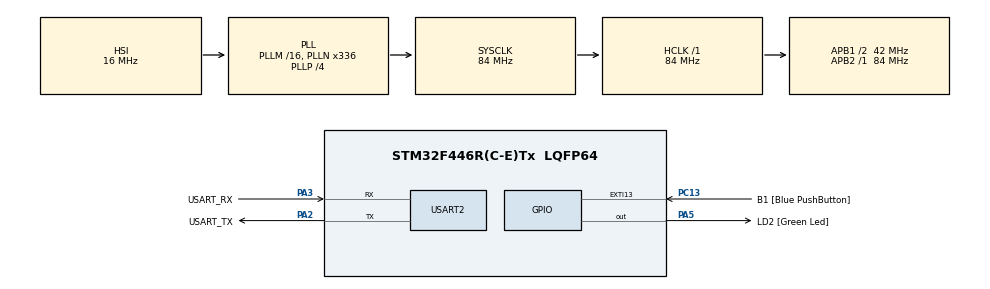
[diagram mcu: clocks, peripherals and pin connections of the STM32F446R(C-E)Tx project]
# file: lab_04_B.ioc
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Mcu.Family=STM32F4
Mcu.Name=STM32F446R(C-E)Tx
Mcu.Package=LQFP64
NVIC.PriorityGroup=NVIC_PRIORITYGROUP_0
NVIC.USART2_IRQn=true\:0\:0\:false\:false\:true\:true\:true\:true
PA13.GPIO_Label=TMS
PA13.Signal=SYS_JTMS-SWDIO
PA14.GPIO_Label=TCK
PA14.Signal=SYS_JTCK-SWCLK
PA2.GPIO_Label=USART_TX
PA2.Mode=Asynchronous
PA2.Signal=USART2_TX
PA3.GPIO_Label=USART_RX
PA3.Mode=Asynchronous
PA3.Signal=USART2_RX
PA5.GPIO_Label=LD2 [Green Led]
PA5.Signal=GPIO_Output
PB3.GPIO_Label=SWO
PB3.Signal=SYS_JTDO-SWO
PC13.GPIO_Label=B1 [Blue PushButton]
PC13.GPIO_ModeDefaultEXTI=GPIO_MODE_IT_FALLING
PC13.Signal=GPXTI13
PC14-OSC32_IN.Signal=RCC_OSC32_IN
PC15-OSC32_OUT.Signal=RCC_OSC32_OUT
PH0-OSC_IN.Signal=RCC_OSC_IN
PH1-OSC_OUT.Signal=RCC_OSC_OUT
ProjectManager.HeapSize=0x200
ProjectManager.StackSize=0x400
ProjectManager.TargetToolchain=STM32CubeIDE
RCC.AHBFreq_Value=84000000
RCC.APB1CLKDivider=RCC_HCLK_DIV2
RCC.APB1Freq_Value=42000000
RCC.APB1TimFreq_Value=84000000
RCC.APB2Freq_Value=84000000
RCC.APB2TimFreq_Value=84000000
RCC.CortexFreq_Value=84000000
RCC.FLatency-AdvancedSettings=FLASH_LATENCY_2
RCC.HCLKFreq_Value=84000000
RCC.HSE_VALUE=8000000
RCC.HSI_VALUE=16000000
RCC.LSE_VALUE=32768
RCC.PLLN=336
RCC.PLLP=RCC_PLLP_DIV4
RCC.SYSCLKFreq_VALUE=84000000
RCC.SYSCLKSource=RCC_SYSCLKSOURCE_PLLCLK
RCC.USBFreq_Value=168000000
RCC.VCOOutputFreq_Value=336000000
USART2.VirtualMode=VM_ASYNC
board=NUCLEO-F446RE

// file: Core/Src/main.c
/* USER CODE BEGIN Header */
/**
  ******************************************************************************
  * @file           : main.c
  * @brief          : Main program body
  ******************************************************************************
  * @attention
  *
  * Copyright (c) 2026 STMicroelectronics.
  * All rights reserved.
  *
  * This software is licensed under terms that can be found in the LICENSE file
  * in the root directory of this software component.
  * If no LICENSE file comes with this software, it is provided AS-IS.
  *
  ******************************************************************************
  */
/* USER CODE END Header */
#include "main.h"

/* USER CODE BEGIN Includes */

#include <string.h>
#include <stdio.h>
/* USER CODE END Includes */

UART_HandleTypeDef huart2;

/* USER CODE BEGIN PV */

uint8_t rxByte;
char lineBuf[128];
uint8_t lineIdx = 0;
/* USER CODE END PV */

void SystemClock_Config(void);
static void MX_GPIO_Init(void);
static void MX_USART2_UART_Init(void);

int main(void)
{
  HAL_Init();
  SystemClock_Config();
  MX_GPIO_Init();
  MX_USART2_UART_Init();

  /* USER CODE BEGIN 2 */
  const char *msg = "HAL UART Interrupt Demo\r\n";
  HAL_UART_Transmit(&huart2, (uint8_t *)msg, strlen(msg), HAL_MAX_DELAY);
  HAL_UART_Receive_IT(&huart2, &rxByte, 1); // Initial arming
  /* USER CODE END 2 */

  /* Infinite loop */
  /* USER CODE BEGIN WHILE */
  while (1)
  {
    HAL_PWR_EnterSLEEPMode(PWR_MAINREGULATOR_ON, PWR_SLEEPENTRY_WFI);
    /* USER CODE END WHILE */

  }
}

void SystemClock_Config(void)
{
  RCC_OscInitTypeDef RCC_OscInitStruct = {0};
  RCC_ClkInitTypeDef RCC_ClkInitStruct = {0};

  /** Configure the main internal regulator output voltage
  */
  __HAL_RCC_PWR_CLK_ENABLE();
  __HAL_PWR_VOLTAGESCALING_CONFIG(PWR_REGULATOR_VOLTAGE_SCALE3);

  /** Initializes the RCC Oscillators according to the specified parameters
  * in the RCC_OscInitTypeDef structure.
  */
  RCC_OscInitStruct.OscillatorType = RCC_OSCILLATORTYPE_HSI;
  RCC_OscInitStruct.HSIState = RCC_HSI_ON;
  RCC_OscInitStruct.HSICalibrationValue = RCC_HSICALIBRATION_DEFAULT;
  RCC_OscInitStruct.PLL.PLLState = RCC_PLL_ON;
  RCC_OscInitStruct.PLL.PLLSource = RCC_PLLSOURCE_HSI;
  RCC_OscInitStruct.PLL.PLLM = 16;
  RCC_OscInitStruct.PLL.PLLN = 336;
  RCC_OscInitStruct.PLL.PLLP = RCC_PLLP_DIV4;
  RCC_OscInitStruct.PLL.PLLQ = 2;
  RCC_OscInitStruct.PLL.PLLR = 2;
  if (HAL_RCC_OscConfig(&RCC_OscInitStruct) != HAL_OK)
  {
    Error_Handler();
  }

  /** Initializes the CPU, AHB and APB buses clocks
  */
  RCC_ClkInitStruct.ClockType = RCC_CLOCKTYPE_HCLK|RCC_CLOCKTYPE_SYSCLK
                              |RCC_CLOCKTYPE_PCLK1|RCC_CLOCKTYPE_PCLK2;
  RCC_ClkInitStruct.SYSCLKSource = RCC_SYSCLKSOURCE_PLLCLK;
  RCC_ClkInitStruct.AHBCLKDivider = RCC_SYSCLK_DIV1;
  RCC_ClkInitStruct.APB1CLKDivider = RCC_HCLK_DIV2;
  RCC_ClkInitStruct.APB2CLKDivider = RCC_HCLK_DIV1;

  if (HAL_RCC_ClockConfig(&RCC_ClkInitStruct, FLASH_LATENCY_2) != HAL_OK)
  {
    Error_Handler();
  }
}

static void MX_USART2_UART_Init(void)
{

  huart2.Instance = USART2;
  huart2.Init.BaudRate = 115200;
  huart2.Init.WordLength = UART_WORDLENGTH_8B;
  huart2.Init.StopBits = UART_STOPBITS_1;
  huart2.Init.Parity = UART_PARITY_NONE;
  huart2.Init.Mode = UART_MODE_TX_RX;
  huart2.Init.HwFlowCtl = UART_HWCONTROL_NONE;
  huart2.Init.OverSampling = UART_OVERSAMPLING_16;
  if (HAL_UART_Init(&huart2) != HAL_OK)
  {
    Error_Handler();
  }

}

static void MX_GPIO_Init(void)
{
  GPIO_InitTypeDef GPIO_InitStruct = {0};

  /* GPIO Ports Clock Enable */
  __HAL_RCC_GPIOC_CLK_ENABLE();
  __HAL_RCC_GPIOH_CLK_ENABLE();
  __HAL_RCC_GPIOA_CLK_ENABLE();
  __HAL_RCC_GPIOB_CLK_ENABLE();

  /*Configure GPIO pin Output Level */
  HAL_GPIO_WritePin(LD2_GPIO_Port, LD2_Pin, GPIO_PIN_RESET);

  /*Configure GPIO pin : B1_Pin */
  GPIO_InitStruct.Pin = B1_Pin;
  GPIO_InitStruct.Mode = GPIO_MODE_IT_FALLING;
  GPIO_InitStruct.Pull = GPIO_NOPULL;
  HAL_GPIO_Init(B1_GPIO_Port, &GPIO_InitStruct);

  /*Configure GPIO pin : LD2_Pin */
  GPIO_InitStruct.Pin = LD2_Pin;
  GPIO_InitStruct.Mode = GPIO_MODE_OUTPUT_PP;
  GPIO_InitStruct.Pull = GPIO_NOPULL;
  GPIO_InitStruct.Speed = GPIO_SPEED_FREQ_LOW;
  HAL_GPIO_Init(LD2_GPIO_Port, &GPIO_InitStruct);

}

/* USER CODE BEGIN 4 */

void HAL_UART_RxCpltCallback(UART_HandleTypeDef *huart) {
    if (huart->Instance == USART2) {
        char c = (char)rxByte;
        if (c == '\r' || lineIdx >= 127) {
            lineBuf[lineIdx] = '\0';
            char resp[160];
            int len = snprintf(resp, sizeof(resp), "Echo: %s\r\n", lineBuf);
            HAL_UART_Transmit(&huart2, (uint8_t *)resp, len, HAL_MAX_DELAY);
            lineIdx = 0;
        } else {
            lineBuf[lineIdx++] = c;
        }
        HAL_UART_Receive_IT(&huart2, &rxByte, 1); // Re-arm
    }
}
/* USER CODE END 4 */

void Error_Handler(void)
{
  __disable_irq();
  while (1)
  {
  }
}
